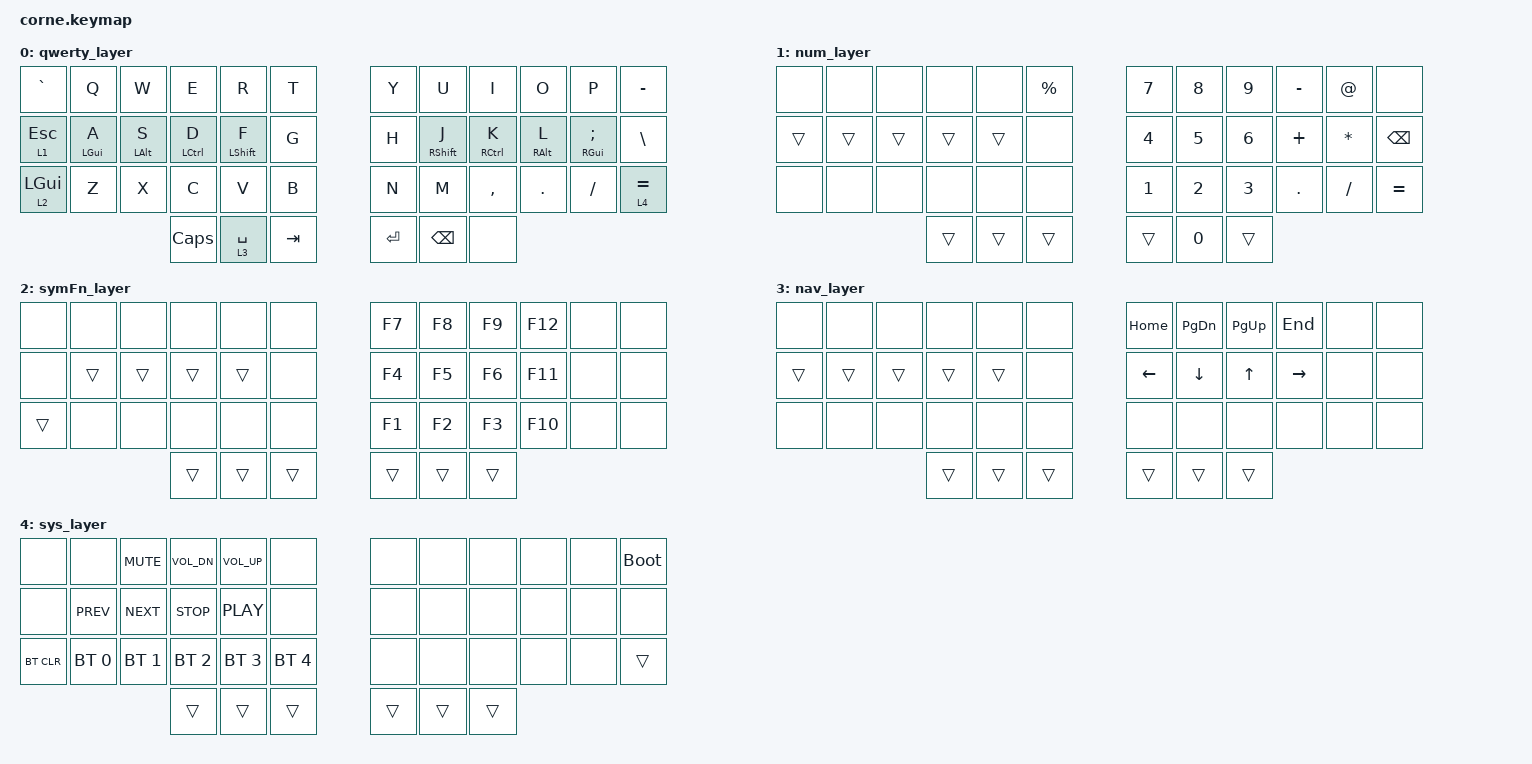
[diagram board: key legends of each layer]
/*
 * Copyright (c) 2020 The ZMK Contributors
 *
 * SPDX-License-Identifier: MIT
 */

#include <behaviors.dtsi>
#include <dt-bindings/zmk/keys.h>
#include <dt-bindings/zmk/bt.h>

/ {
        keymap {
                compatible = "zmk,keymap";

                qwerty_layer {
// -------------------------------------------------------------------------------------------------------------------------------------
// | `         |  Q        |  W       |  E        |  R        |  T  |=|  Y  |  U         |  I         |  O        |  P          |  -   |
// | ESC       |  A        |  S       |  D        |  F        |  G  |=|  H  |  J         |  K         |  L        |  ;          |  \   |
//   > num_l      LGUI        LALT       LCTR        LSHFT           =         RSHFT        RCTR         RALT        RGUI
// | GUI       |  Z        |  X       |  C        |  V        |  B  |=|  N  |  M         |  ,         |  .        |  /          |  =   |
//   > nav_l                                                                                                                      > sys_l
//                                    |  CAPS     | SPC       | TAB |=| RET | BSPC       |  none      |
//
                        bindings = <
   &kp GRAVE   &kp Q       &kp W      &kp E       &kp R       &kp T   &kp Y &kp U        &kp I        &kp O       &kp P         &kp MINUS
   &lt 1 ESC   &mt LGUI A  &mt LALT S &mt LCTRL D &mt LSHFT F &kp G   &kp H &mt RSHFT J  &mt RCTRL K  &mt RALT L  &mt RGUI SEMI &kp BSLH
   &lt 2 LGUI  &kp Z       &kp X      &kp C       &kp V       &kp B   &kp N &kp M        &kp COMMA    &kp DOT     &kp FSLH      &lt 4 EQUAL
                                         &kp CAPS &lt 3 SPACE &kp TAB &kp RET &kp BSPC &none
                        >;
                };

                num_layer {   // Layer 1
// -----------------------------------------------------------------------------------------------------------------------------------------
// |           |           |          |           |           |  %     |=| N7   |  N8        |  N9        |  MINUS    |  AT         |      |
// |           |           |          |           |           |        |=| N4   |  N5        |  N6        |  PLUS     |  STAR       | BSPC |
//   > num_l      LGUI        LALT       LCTR        LSHFT              =
// |           |           |          |           |           |        |=| N1   |  N2        |  N3        |  .        |  /          |  =   |
//                                    |  &trans   | &trans    | TAB    |=| RET  |  N0        |  none      |
//
                        bindings = <
   &none       &none       &none      &none       &none       &kp PRCNT  &kp N7 &kp N8       &kp N9       &kp MINUS   &kp AT        &none
   &trans      &trans      &trans     &trans      &trans      &none      &kp N4 &kp N5       &kp N6       &kp PLUS    &kp STAR      &kp BSPC
   &none       &none       &none      &none       &none       &none      &kp N1 &kp N2       &kp N3       &kp DOT     &kp FSLH      &kp EQUAL
                                         &trans   &trans      &trans     &trans   &kp N0     &trans
                        >;
                };

                symFn_layer {   // Layer 2
// -----------------------------------------------------------------------------------------------------------------------------------------
// |           |           |          |           |           |  %     |=| F7   |  F8        |  F9        |  F12      |             |      |
// |           |           |          |           |           |        |=| F4   |  F5        |  F6        |  F11      |             |      |
//                LGUI        LALT       LCTR        LSHFT              =
// | > symFn_l |           |          |           |           |        |=| F1   |  F2        |  F3        |  F10      |             |      |
//                                    |  &trans   | &trans    | TAB    |=| RET  |  none      |  none      |
//
                        bindings = <
   &none       &none       &none      &none       &none       &none      &kp F7 &kp F8       &kp F9       &kp F12     &none         &none
   &none       &trans      &trans     &trans      &trans      &none      &kp F4 &kp F5       &kp F6       &kp F11     &none         &none
   &trans      &none       &none      &none       &none       &none      &kp F1 &kp F2       &kp F3       &kp F10     &none         &none
                                         &trans   &trans      &trans     &trans   &trans   &trans
                        >;
                };

                nav_layer {   // layer 3
// -----------------------------------------------------------------------------------------------------------------------------------------
// |           |           |          |           |           |        |=| HOME |  PgDn      |  PgUp      | END       |             |      |
// |           |           |          |           |           |        |=| LEFT |  DOWN      |  UP        | RIGHT     |             |      |
//                LGUI        LALT       LCTR        LSHFT              =
// |           |           |          |           |           |        |=|      |            |            |           |             |      |
//                                    |  &trans   | > nav_l   |        |=|      |            |  none      |
//
                        bindings = <
   &none       &none       &none      &none       &none       &none      &kp HOME &kp PG_DN  &kp PG_UP    &kp END     &none         &none
   &trans      &trans      &trans     &trans      &trans      &none      &kp LEFT &kp DOWN   &kp UP       &kp RIGHT   &none         &none
   &none       &none       &none      &none       &none       &none      &none    &none      &none        &none       &none         &none
                                         &trans   &trans      &trans     &trans  &trans   &trans
                        >;
                };

                sys_layer {   // layer 4
// ------------------------------------------------------------------------------------------------------------------------------------------------
// |           |            | MUTE       | VOL_DN     | VOL_UP     |            |=|      |          |            |           |             | RESET|
// |           | PREV       | NEXT       | STOP       | PLAY       |            |=|      |          |            |           |             |      |
// | BTCLR     | BT1        | BT2        | BT3        | BT4        | BT5        |=|      |          |            |           |             |      |
//                                                                                                                               > sys_l
//                                         |  &trans   | &trans    |            |=|      |          |  none      |
//
                        bindings = <
   &none       &none        &kp C_MUTE   &kp C_VOL_DN &kp C_VOL_UP &none        &none    &none      &none        &none       &none         &bootloader
   &none       &kp C_PREV   &kp C_NEXT   &kp C_STOP   &kp C_PLAY   &none        &none    &none      &none        &none       &none         &none
   &bt BT_CLR  &bt BT_SEL 0 &bt BT_SEL 1 &bt BT_SEL 2 &bt BT_SEL 3 &bt BT_SEL 4 &none    &none      &none        &none       &none         &trans
                                               &trans    &trans      &trans     &trans   &trans   &trans
                        >;
                };

        };
};
